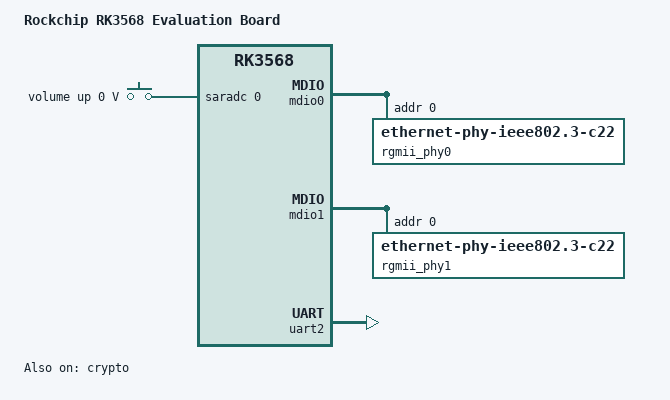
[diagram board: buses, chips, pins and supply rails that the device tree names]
/*
 * SPDX-License-Identifier:     GPL-2.0+
 *
 * (C) Copyright 2020 Rockchip Electronics Co., Ltd
 */

/dts-v1/;
#include "rk3568.dtsi"
#include "rk3568-u-boot.dtsi"
#include <dt-bindings/input/input.h>

/ {
	model = "Rockchip RK3568 Evaluation Board";
	compatible = "rockchip,rk3568-evb", "rockchip,rk3568";

	adc-keys {
		compatible = "adc-keys";
		io-channels = <&saradc 0>;
		io-channel-names = "buttons";
		keyup-threshold-microvolt = <1800000>;
		u-boot,dm-spl;
		status = "okay";

		volumeup-key {
			u-boot,dm-spl;
			linux,code = <KEY_VOLUMEUP>;
			label = "volume up";
			press-threshold-microvolt = <9>;
		};
	};
};

&gmac0 {
	phy-mode = "rgmii";
	clock_in_out = "output";

	snps,reset-gpio = <&gpio2 RK_PD3 GPIO_ACTIVE_LOW>;
	snps,reset-active-low;
	/* Reset time is 20ms, 100ms for rtl8211f */
	snps,reset-delays-us = <0 20000 100000>;
	assigned-clocks = <&cru SCLK_GMAC0_RX_TX>, <&cru SCLK_GMAC0>;
	assigned-clock-parents = <&cru SCLK_GMAC0_RGMII_SPEED>;
	assigned-clock-rates = <0>, <125000000>;

	pinctrl-names = "default";
	pinctrl-0 = <&gmac0_miim
		     &gmac0_tx_bus2
		     &gmac0_rx_bus2
		     &gmac0_rgmii_clk
		     &gmac0_rgmii_bus>;

	tx_delay = <0x3c>;
	rx_delay = <0x2f>;

	phy-handle = <&rgmii_phy0>;
	status = "disabled";
};

&gmac1 {
	phy-mode = "rgmii";
	clock_in_out = "output";

	snps,reset-gpio = <&gpio2 RK_PD1 GPIO_ACTIVE_LOW>;
	snps,reset-active-low;
	/* Reset time is 20ms, 100ms for rtl8211f */
	snps,reset-delays-us = <0 20000 100000>;

	assigned-clocks = <&cru SCLK_GMAC1_RX_TX>, <&cru SCLK_GMAC1>;
	assigned-clock-parents = <&cru SCLK_GMAC1_RGMII_SPEED>;
	assigned-clock-rates = <0>, <125000000>;

	pinctrl-names = "default";
	pinctrl-0 = <&gmac1m1_miim
		     &gmac1m1_tx_bus2
		     &gmac1m1_rx_bus2
		     &gmac1m1_rgmii_clk
		     &gmac1m1_rgmii_bus>;

	tx_delay = <0x4f>;
	rx_delay = <0x26>;

	phy-handle = <&rgmii_phy1>;
	status = "disabled";
};

&mdio0 {
	rgmii_phy0: phy@0 {
		compatible = "ethernet-phy-ieee802.3-c22";
		reg = <0x0>;
	};
};

&mdio1 {
	rgmii_phy1: phy@0 {
		compatible = "ethernet-phy-ieee802.3-c22";
		reg = <0x0>;
	};
};

&crypto {
	status = "okay";
};

&uart2 {
	status = "okay";
};
